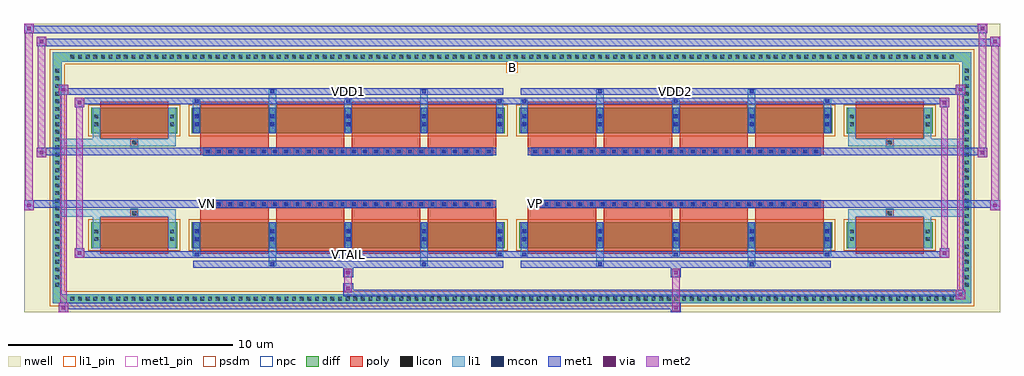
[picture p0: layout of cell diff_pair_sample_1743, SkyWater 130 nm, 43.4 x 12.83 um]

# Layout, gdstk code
import gdstk
lib = gdstk.Library(unit=1e-6, precision=5e-09)
def R(c, l, rs):  # rectangles x0, y0, x1, y1
    for r in rs: c.add(gdstk.rectangle(r[:2], r[2:], *l))
def A(c, l, x, y, w, h, nx, ny, dx, dy):  # array of equal rectangles
    R(c, l, [(x+i*dx, y+j*dy, x+i*dx+w, y+j*dy+h) for i in range(nx) for j in range(ny)])
def P(c, l, *ps):  # polygons
    for p in ps: c.add(gdstk.Polygon(p, *l))
nwell = (64, 20)
diff = (65, 20)
poly = (66, 20)
licon = (66, 44)
li1_pin = (67, 16)
li1 = (67, 20)
mcon = (67, 44)
met1_pin = (68, 16)
met1 = (68, 20)
via = (68, 44)
met2 = (69, 20)
psdm = (94, 20)
npc = (95, 20)

diff_pair_sample_1743 = lib.new_cell('diff_pair_sample_1743')
R(diff_pair_sample_1743, nwell, [(-21.7,-5.98,21.7,6.85), (-19.02,-4.17,-0.01,-0.805), (0.01,-4.17,19.02,-0.805), (-19.02,0.805,-0.01,4.17), (0.01,0.805,19.02,4.17)])
A(diff_pair_sample_1743, diff, -19.755, -5.58, 0.41, 0.41, 116, 2, 0.34, 10.75)
A(diff_pair_sample_1743, diff, -20.43, -4.965, 0.41, 0.41, 1, 29, 0, 0.34)
A(diff_pair_sample_1743, diff, 20.02, -4.965, 0.41, 0.41, 1, 29, 0, 0.34)
R(diff_pair_sample_1743, diff, [(-19.755,-5.58,19.755,-5.17), (-20.43,-4.965,-20.02,4.965), (20.02,-4.965,20.43,4.965), (-18.71,-3.125,-14.89,-1.985), (-14.25,-3.125,-0.32,-1.985), (0.32,-3.125,14.25,-1.985), (14.89,-3.125,18.71,-1.985), (-18.71,1.985,-14.89,3.125), (-14.25,1.985,-0.32,3.125), (0.32,1.985,14.25,3.125), (14.89,1.985,18.71,3.125), (-19.755,5.17,19.755,5.58)])
P(diff_pair_sample_1743, diff, [(20.43,5.58),(-20.43,5.58),(-20.43,-5.17),(-20.02,-5.17),(-20.02,5.17),(20.02,5.17),(20.02,-5.17),(-20.02,-5.17),(-20.43,-5.17),(-20.43,-5.58),(20.43,-5.58)])
A(diff_pair_sample_1743, poly, -13.86, -3.375, 3.04, 1.64, 4, 2, 3.37, 5.11)
A(diff_pair_sample_1743, poly, 0.71, -3.375, 3.04, 1.64, 4, 2, 3.37, 5.11)
A(diff_pair_sample_1743, poly, -13.86, -1.735, 3.04, 0.4, 4, 2, 3.37, 3.07)
A(diff_pair_sample_1743, poly, 0.71, -1.735, 3.04, 0.4, 4, 2, 3.37, 3.07)
A(diff_pair_sample_1743, poly, -13.7, -1.335, 0.33, 0.33, 26, 2, 0.5, 2.34)
A(diff_pair_sample_1743, poly, 0.87, -1.335, 0.33, 0.33, 26, 2, 0.5, 2.34)
R(diff_pair_sample_1743, poly, [(-18.32,-3.375,-15.28,-1.735), (15.28,-3.375,18.32,-1.735), (-16.965,-1.735,-16.635,-1.405), (-16.965,-1.735,-16.635,-1.405), (16.635,-1.735,16.965,-1.405), (16.635,-1.735,16.965,-1.405), (-13.86,-1.335,-0.71,-1.005), (0.71,-1.335,13.86,-1.005), (-13.86,1.005,-0.71,1.335), (0.71,1.005,13.86,1.335), (-16.965,1.405,-16.635,1.735), (-16.965,1.405,-16.635,1.735), (16.635,1.405,16.965,1.735), (16.635,1.405,16.965,1.735), (-18.32,1.735,-15.28,3.375), (15.28,1.735,18.32,3.375)])
A(diff_pair_sample_1743, licon, -19.635, -5.46, 0.17, 0.17, 116, 2, 0.34, 10.75)
A(diff_pair_sample_1743, licon, -20.31, -4.845, 0.17, 0.17, 1, 29, 0, 0.34)
A(diff_pair_sample_1743, licon, 20.14, -4.845, 0.17, 0.17, 1, 29, 0, 0.34)
A(diff_pair_sample_1743, licon, -14.11, -2.81, 0.17, 0.17, 5, 2, 3.37, 0.34)
A(diff_pair_sample_1743, licon, 0.46, -2.81, 0.17, 0.17, 5, 2, 3.37, 0.34)
A(diff_pair_sample_1743, licon, -13.62, -1.255, 0.17, 0.17, 26, 2, 0.5, 2.34)
A(diff_pair_sample_1743, licon, 0.95, -1.255, 0.17, 0.17, 26, 2, 0.5, 2.34)
A(diff_pair_sample_1743, licon, -14.11, 2.3, 0.17, 0.17, 5, 2, 3.37, 0.34)
A(diff_pair_sample_1743, licon, 0.46, 2.3, 0.17, 0.17, 5, 2, 3.37, 0.34)
R(diff_pair_sample_1743, licon, [(-18.57,-2.81,-18.4,-2.64), (-15.2,-2.81,-15.03,-2.64), (15.03,-2.81,15.2,-2.64), (18.4,-2.81,18.57,-2.64), (-18.57,-2.47,-18.4,-2.3), (-15.2,-2.47,-15.03,-2.3), (15.03,-2.47,15.2,-2.3), (18.4,-2.47,18.57,-2.3), (-16.885,-1.655,-16.715,-1.485), (16.715,-1.655,16.885,-1.485), (-16.885,1.485,-16.715,1.655), (16.715,1.485,16.885,1.655), (-18.57,2.3,-18.4,2.47), (-15.2,2.3,-15.03,2.47), (15.03,2.3,15.2,2.47), (18.4,2.3,18.57,2.47), (-18.57,2.64,-18.4,2.81), (-15.2,2.64,-15.03,2.81), (15.03,2.64,15.2,2.81), (18.4,2.64,18.57,2.81)])
R(diff_pair_sample_1743, li1_pin, [(-0.25,4.67,0.25,5.17)])
A(diff_pair_sample_1743, li1, -19.715, -5.54, 0.33, 0.33, 116, 2, 0.34, 10.75)
A(diff_pair_sample_1743, li1, -20.39, -4.925, 0.33, 0.33, 1, 29, 0, 0.34)
A(diff_pair_sample_1743, li1, 20.06, -4.925, 0.33, 0.33, 1, 29, 0, 0.34)
A(diff_pair_sample_1743, li1, -14.19, -3.5, 0.33, 0.375, 3, 2, 6.74, 6.625)
A(diff_pair_sample_1743, li1, -14.11, -3.5, 0.17, 0.17, 3, 2, 6.74, 6.83)
A(diff_pair_sample_1743, li1, 0.38, -3.5, 0.33, 0.375, 3, 2, 6.74, 6.625)
A(diff_pair_sample_1743, li1, 0.46, -3.5, 0.17, 0.17, 3, 2, 6.74, 6.83)
A(diff_pair_sample_1743, li1, -14.19, -3.125, 0.33, 1.14, 5, 2, 3.37, 5.11)
A(diff_pair_sample_1743, li1, 0.38, -3.125, 0.33, 1.14, 5, 2, 3.37, 5.11)
A(diff_pair_sample_1743, li1, -14.19, -2.89, 0.33, 0.33, 5, 2, 3.37, 0.34)
A(diff_pair_sample_1743, li1, 0.38, -2.89, 0.33, 0.33, 5, 2, 3.37, 0.34)
A(diff_pair_sample_1743, li1, -14.11, -2.82, 0.17, 0.17, 5, 2, 3.37, 0.36)
A(diff_pair_sample_1743, li1, -14.11, -2.82, 0.17, 0.53, 5, 2, 3.37, 5.11)
A(diff_pair_sample_1743, li1, 0.46, -2.82, 0.17, 0.17, 5, 2, 3.37, 0.36)
A(diff_pair_sample_1743, li1, 0.46, -2.82, 0.17, 0.53, 5, 2, 3.37, 5.11)
A(diff_pair_sample_1743, li1, -13.7, -1.335, 0.33, 0.33, 26, 2, 0.5, 2.34)
A(diff_pair_sample_1743, li1, 0.87, -1.335, 0.33, 0.33, 26, 2, 0.5, 2.34)
A(diff_pair_sample_1743, li1, -14.19, 2.22, 0.33, 0.33, 5, 2, 3.37, 0.34)
A(diff_pair_sample_1743, li1, 0.38, 2.22, 0.33, 0.33, 5, 2, 3.37, 0.34)
A(diff_pair_sample_1743, li1, -14.11, 2.29, 0.17, 0.17, 5, 2, 3.37, 0.36)
A(diff_pair_sample_1743, li1, 0.46, 2.29, 0.17, 0.17, 5, 2, 3.37, 0.36)
R(diff_pair_sample_1743, li1, [(-20.43,-5.58,-20.02,-5.17), (-20.43,-5.58,-20.02,-5.17), (-20.02,-5.58,20.02,-5.17), (20.02,-5.58,20.43,-5.17), (20.02,-5.58,20.43,-5.17), (-20.43,-5.17,-20.02,5.17), (20.02,-5.17,20.43,5.17), (-10.82,-3.93,-10.49,-3.125), (-10.74,-3.93,-10.57,-3.76), (-4.08,-3.93,-3.75,-3.125), (-4,-3.93,-3.83,-3.76), (3.75,-3.93,4.08,-3.125), (3.83,-3.93,4,-3.76), (10.49,-3.93,10.82,-3.125), (10.57,-3.93,10.74,-3.76), (-18.65,-3.125,-18.32,-1.985), (-15.28,-3.125,-14.95,-1.985), (14.95,-3.125,15.28,-1.985), (18.32,-3.125,18.65,-1.985), (-18.65,-2.89,-18.32,-2.56), (-15.28,-2.89,-14.95,-2.56), (14.95,-2.89,15.28,-2.56), (18.32,-2.89,18.65,-2.56), (-18.65,-2.55,-18.32,-2.22), (-15.28,-2.55,-14.95,-2.22), (14.95,-2.55,15.28,-2.22), (18.32,-2.55,18.65,-2.22), (-18.65,-1.985,-18.32,-1.405), (-15.28,-1.985,-14.95,-1.405), (14.95,-1.985,15.28,-1.405), (18.32,-1.985,18.65,-1.405), (-20.43,-1.735,-16.965,-1.405), (-18.65,-1.735,-16.965,-1.405), (-16.965,-1.735,-16.635,-1.405), (-16.635,-1.735,-14.95,-1.405), (14.95,-1.735,16.635,-1.405), (16.635,-1.735,16.965,-1.405), (16.635,-1.735,20.43,-1.405), (16.965,-1.735,18.65,-1.405), (-20.43,1.405,-16.965,1.735), (-18.65,1.405,-16.965,1.735), (-18.65,1.405,-18.32,1.985), (-16.965,1.405,-16.635,1.735), (-16.635,1.405,-14.95,1.735), (-15.28,1.405,-14.95,1.985), (14.95,1.405,16.635,1.735), (14.95,1.405,15.28,1.985), (16.635,1.405,16.965,1.735), (16.635,1.405,20.43,1.735), (16.965,1.405,18.65,1.735), (18.32,1.405,18.65,1.985), (-18.65,1.985,-18.32,3.125), (-15.28,1.985,-14.95,3.125), (14.95,1.985,15.28,3.125), (18.32,1.985,18.65,3.125), (-18.65,2.22,-18.32,2.55), (-15.28,2.22,-14.95,2.55), (14.95,2.22,15.28,2.55), (18.32,2.22,18.65,2.55), (-18.65,2.56,-18.32,2.89), (-15.28,2.56,-14.95,2.89), (14.95,2.56,15.28,2.89), (18.32,2.56,18.65,2.89), (-10.82,3.125,-10.49,3.93), (-4.08,3.125,-3.75,3.93), (3.75,3.125,4.08,3.93), (10.49,3.125,10.82,3.93), (-10.74,3.76,-10.57,3.93), (-4,3.76,-3.83,3.93), (3.83,3.76,4,3.93), (10.57,3.76,10.74,3.93), (-20.43,5.17,-20.02,5.58), (-20.43,5.17,-20.02,5.58), (-20.02,5.17,20.02,5.58), (20.02,5.17,20.43,5.58), (20.02,5.17,20.43,5.58)])
A(diff_pair_sample_1743, mcon, -14.11, -3.5, 0.17, 0.17, 3, 2, 6.74, 6.83)
A(diff_pair_sample_1743, mcon, 0.46, -3.5, 0.17, 0.17, 3, 2, 6.74, 6.83)
A(diff_pair_sample_1743, mcon, -14.11, -2.82, 0.17, 0.17, 5, 2, 3.37, 0.36)
A(diff_pair_sample_1743, mcon, 0.46, -2.82, 0.17, 0.17, 5, 2, 3.37, 0.36)
A(diff_pair_sample_1743, mcon, -13.62, -1.255, 0.17, 0.17, 26, 2, 0.5, 2.34)
A(diff_pair_sample_1743, mcon, 0.95, -1.255, 0.17, 0.17, 26, 2, 0.5, 2.34)
A(diff_pair_sample_1743, mcon, -14.11, 2.29, 0.17, 0.17, 5, 2, 3.37, 0.36)
A(diff_pair_sample_1743, mcon, 0.46, 2.29, 0.17, 0.17, 5, 2, 3.37, 0.36)
R(diff_pair_sample_1743, mcon, [(-10.74,-3.93,-10.57,-3.76), (-4,-3.93,-3.83,-3.76), (3.83,-3.93,4,-3.76), (10.57,-3.93,10.74,-3.76), (-10.74,3.76,-10.57,3.93), (-4,3.76,-3.83,3.93), (3.83,3.76,4,3.93), (10.57,3.76,10.74,3.93)])
R(diff_pair_sample_1743, met1_pin, [(-7.42,-3.54,-7.15,-3.27), (-13.67,-1.295,-13.4,-1.025), (0.9,-1.295,1.17,-1.025), (-7.42,3.72,-7.15,3.99), (7.15,3.72,7.42,3.99)])
A(diff_pair_sample_1743, met1, -14.17, -3.56, 0.29, 0.29, 3, 2, 6.74, 6.83)
A(diff_pair_sample_1743, met1, 0.4, -3.56, 0.29, 0.29, 3, 2, 6.74, 6.83)
A(diff_pair_sample_1743, met1, -14.17, -3.125, 0.29, 1.14, 5, 2, 3.37, 5.11)
A(diff_pair_sample_1743, met1, 0.4, -3.125, 0.29, 1.14, 5, 2, 3.37, 5.11)
A(diff_pair_sample_1743, met1, -14.17, -2.88, 0.29, 0.29, 5, 2, 3.37, 0.36)
A(diff_pair_sample_1743, met1, 0.4, -2.88, 0.29, 0.29, 5, 2, 3.37, 0.36)
A(diff_pair_sample_1743, met1, -13.68, -1.315, 0.29, 0.29, 26, 2, 0.5, 2.34)
A(diff_pair_sample_1743, met1, 0.89, -1.315, 0.29, 0.29, 26, 2, 0.5, 2.34)
A(diff_pair_sample_1743, met1, -14.17, 2.23, 0.29, 0.29, 5, 2, 3.37, 0.36)
A(diff_pair_sample_1743, met1, 0.4, 2.23, 0.29, 0.29, 5, 2, 3.37, 0.36)
R(diff_pair_sample_1743, met1, [(-20.16,-5.98,-19.73,-5.55), (7.07,-5.98,7.5,-5.55), (-20.16,-5.84,7.5,-5.55), (19.73,-5.41,20.16,-4.98), (-7.5,-5.27,20.16,-4.98), (-7.5,-5.13,-7.07,-4.7), (-7.5,-4.42,-7.07,-3.99), (7.07,-4.42,7.5,-3.99), (-14.17,-3.99,-0.4,-3.7), (-10.8,-3.99,-10.51,-3.7), (-4.06,-3.99,-3.77,-3.7), (0.4,-3.99,14.17,-3.7), (3.77,-3.99,4.06,-3.7), (10.51,-3.99,10.8,-3.7), (-19.45,-3.56,-19.02,-3.13), (-19.45,-3.56,-14.17,-3.27), (-14.17,-3.56,-0.4,-3.27), (-0.4,-3.56,0.4,-3.27), (0.4,-3.56,14.17,-3.27), (14.17,-3.56,19.45,-3.27), (19.02,-3.56,19.45,-3.13), (-21.7,-1.435,-21.27,-1.005), (21.27,-1.435,21.7,-1.005), (-21.7,-1.335,-0.71,-1.005), (-13.86,-1.335,-0.71,-1.005), (0.71,-1.335,13.86,-1.005), (0.71,-1.335,21.7,-1.005), (-21.13,0.905,-20.7,1.335), (20.7,0.905,21.13,1.335), (-21.13,1.005,-13.86,1.335), (-13.86,1.005,-0.71,1.335), (0.71,1.005,13.86,1.335), (13.86,1.005,21.13,1.335), (-19.45,3.13,-19.02,3.56), (19.02,3.13,19.45,3.56), (-19.45,3.27,-14.17,3.56), (-14.17,3.27,-0.4,3.56), (-0.4,3.27,0.4,3.56), (0.4,3.27,14.17,3.56), (14.17,3.27,19.45,3.56), (-20.16,3.7,-19.73,4.13), (-20.16,3.7,-14.17,3.99), (-14.17,3.7,-0.4,3.99), (-10.8,3.7,-10.51,3.99), (-4.06,3.7,-3.77,3.99), (0.4,3.7,14.17,3.99), (3.77,3.7,4.06,3.99), (10.51,3.7,10.8,3.99), (14.17,3.7,20.16,3.99), (19.73,3.7,20.16,4.13), (-21.13,5.85,-20.7,6.28), (-21.13,5.85,-19.02,6.18), (-19.02,5.85,19.02,6.18), (19.02,5.85,21.7,6.18), (21.27,5.85,21.7,6.28), (-21.7,6.42,-21.27,6.85), (-21.7,6.42,-19.02,6.75), (-19.02,6.42,19.02,6.75), (19.02,6.42,21.13,6.75), (20.7,6.42,21.13,6.85)])
R(diff_pair_sample_1743, via, [(-20.02,-5.84,-19.87,-5.69), (7.21,-5.84,7.36,-5.69), (19.87,-5.27,20.02,-5.12), (-7.36,-4.99,-7.21,-4.84), (-7.36,-4.28,-7.21,-4.13), (7.21,-4.28,7.36,-4.13), (-19.31,-3.42,-19.16,-3.27), (19.16,-3.42,19.31,-3.27), (-21.56,-1.295,-21.41,-1.145), (21.41,-1.295,21.56,-1.145), (-20.99,1.045,-20.84,1.195), (20.84,1.045,20.99,1.195), (-19.31,3.27,-19.16,3.42), (19.16,3.27,19.31,3.42), (-20.02,3.84,-19.87,3.99), (19.87,3.84,20.02,3.99), (-20.99,5.99,-20.84,6.14), (21.41,5.99,21.56,6.14), (-21.56,6.56,-21.41,6.71), (20.84,6.56,20.99,6.71)])
R(diff_pair_sample_1743, met2, [(-20.16,-5.98,-19.73,-5.55), (-20.09,-5.98,-19.8,4.13), (-19.8,-5.98,-19.73,-5.55), (-20.11,-5.93,-19.78,-5.6), (7.12,-5.93,7.45,-5.6), (7.12,-5.6,7.45,-4.37), (19.73,-5.41,20.16,-4.98), (19.8,-5.41,20.09,4.13), (20.09,-5.41,20.16,-4.98), (19.78,-5.36,20.11,-5.03), (-7.45,-5.08,-7.12,-4.75), (-7.45,-4.75,-7.12,-4.37), (-7.45,-4.37,-7.12,-4.04), (7.12,-4.37,7.45,-4.04), (-19.45,-3.56,-19.02,-3.13), (-19.38,-3.56,-19.09,3.56), (-19.09,-3.56,-19.02,-3.13), (19.02,-3.56,19.45,-3.13), (19.09,-3.56,19.38,3.56), (19.38,-3.56,19.45,-3.13), (-19.4,-3.51,-19.07,-3.18), (19.07,-3.51,19.4,-3.18), (-21.7,-1.435,-21.27,-1.005), (-21.65,-1.435,-21.32,6.85), (-21.32,-1.435,-21.27,-1.005), (21.27,-1.435,21.7,-1.005), (21.32,-1.435,21.65,6.28), (21.65,-1.435,21.7,-1.005), (-21.65,-1.385,-21.32,-1.055), (21.32,-1.385,21.65,-1.055), (-21.13,0.905,-20.7,1.335), (-21.08,0.905,-20.75,6.28), (-20.75,0.905,-20.7,1.335), (20.7,0.905,21.13,1.335), (20.75,0.905,21.08,6.85), (21.08,0.905,21.13,1.335), (-21.08,0.955,-20.75,1.285), (20.75,0.955,21.08,1.285), (-19.45,3.13,-19.02,3.56), (-19.09,3.13,-19.02,3.56), (19.02,3.13,19.45,3.56), (19.38,3.13,19.45,3.56), (-19.4,3.18,-19.07,3.51), (19.07,3.18,19.4,3.51), (-20.16,3.7,-19.73,4.13), (-19.8,3.7,-19.73,4.13), (19.73,3.7,20.16,4.13), (20.09,3.7,20.16,4.13), (-20.11,3.75,-19.78,4.08), (19.78,3.75,20.11,4.08), (-21.13,5.85,-20.7,6.28), (-20.75,5.85,-20.7,6.28), (21.27,5.85,21.7,6.28), (21.65,5.85,21.7,6.28), (-21.08,5.9,-20.75,6.23), (21.32,5.9,21.65,6.23), (-21.7,6.42,-21.27,6.85), (-21.32,6.42,-21.27,6.85), (20.7,6.42,21.13,6.85), (21.08,6.42,21.13,6.85), (-21.65,6.47,-21.32,6.8), (20.75,6.47,21.08,6.8)])
R(diff_pair_sample_1743, psdm, [(-18.84,-3.255,-14.76,-1.855), (-14.38,-3.255,-0.19,-1.855), (0.19,-3.255,14.38,-1.855), (14.76,-3.255,18.84,-1.855), (-18.84,1.855,-14.76,3.255), (-14.38,1.855,-0.19,3.255), (0.19,1.855,14.38,3.255), (14.76,1.855,18.84,3.255)])
P(diff_pair_sample_1743, psdm, [(20.56,5.71),(-20.56,5.71),(-20.56,-5.04),(-19.89,-5.04),(-19.89,5.04),(19.89,5.04),(19.89,-5.04),(-19.89,-5.04),(-20.56,-5.04),(-20.56,-5.71),(20.56,-5.71)])
A(diff_pair_sample_1743, npc, -13.72, -1.355, 0.37, 0.37, 26, 2, 0.5, 2.34)
A(diff_pair_sample_1743, npc, 0.85, -1.355, 0.37, 0.37, 26, 2, 0.5, 2.34)
R(diff_pair_sample_1743, npc, [(-16.985,-1.755,-16.615,-1.385), (16.615,-1.755,16.985,-1.385), (-13.72,-1.355,-12.85,-0.985), (-13.72,-1.355,-12.85,-0.985), (-13.22,-1.355,-12.35,-0.985), (-13.22,-1.355,-12.35,-0.985), (-12.72,-1.355,-11.85,-0.985), (-12.72,-1.355,-11.85,-0.985), (-12.22,-1.355,-11.35,-0.985), (-12.22,-1.355,-11.35,-0.985), (-11.72,-1.355,-10.85,-0.985), (-11.72,-1.355,-10.85,-0.985), (-11.22,-1.355,-10.35,-0.985), (-11.22,-1.355,-10.35,-0.985), (-10.72,-1.355,-9.85,-0.985), (-10.72,-1.355,-9.85,-0.985), (-10.22,-1.355,-9.35,-0.985), (-10.22,-1.355,-9.35,-0.985), (-9.72,-1.355,-8.85,-0.985), (-9.72,-1.355,-8.85,-0.985), (-9.22,-1.355,-8.35,-0.985), (-9.22,-1.355,-8.35,-0.985), (-8.72,-1.355,-7.85,-0.985), (-8.72,-1.355,-7.85,-0.985), (-8.22,-1.355,-7.35,-0.985), (-8.22,-1.355,-7.35,-0.985), (-7.72,-1.355,-6.85,-0.985), (-7.72,-1.355,-6.85,-0.985), (-7.22,-1.355,-6.35,-0.985), (-7.22,-1.355,-6.35,-0.985), (-6.72,-1.355,-5.85,-0.985), (-6.72,-1.355,-5.85,-0.985), (-6.22,-1.355,-5.35,-0.985), (-6.22,-1.355,-5.35,-0.985), (-5.72,-1.355,-4.85,-0.985), (-5.72,-1.355,-4.85,-0.985), (-5.22,-1.355,-4.35,-0.985), (-5.22,-1.355,-4.35,-0.985), (-4.72,-1.355,-3.85,-0.985), (-4.72,-1.355,-3.85,-0.985), (-4.22,-1.355,-3.35,-0.985), (-4.22,-1.355,-3.35,-0.985), (-3.72,-1.355,-2.85,-0.985), (-3.72,-1.355,-2.85,-0.985), (-3.22,-1.355,-2.35,-0.985), (-3.22,-1.355,-2.35,-0.985), (-2.72,-1.355,-1.85,-0.985), (-2.72,-1.355,-1.85,-0.985), (-2.22,-1.355,-1.35,-0.985), (-2.22,-1.355,-1.35,-0.985), (-1.72,-1.355,-0.85,-0.985), (-1.72,-1.355,-0.85,-0.985), (0.85,-1.355,1.72,-0.985), (0.85,-1.355,1.72,-0.985), (1.35,-1.355,2.22,-0.985), (1.35,-1.355,2.22,-0.985), (1.85,-1.355,2.72,-0.985), (1.85,-1.355,2.72,-0.985), (2.35,-1.355,3.22,-0.985), (2.35,-1.355,3.22,-0.985), (2.85,-1.355,3.72,-0.985), (2.85,-1.355,3.72,-0.985), (3.35,-1.355,4.22,-0.985), (3.35,-1.355,4.22,-0.985), (3.85,-1.355,4.72,-0.985), (3.85,-1.355,4.72,-0.985), (4.35,-1.355,5.22,-0.985), (4.35,-1.355,5.22,-0.985), (4.85,-1.355,5.72,-0.985), (4.85,-1.355,5.72,-0.985), (5.35,-1.355,6.22,-0.985), (5.35,-1.355,6.22,-0.985), (5.85,-1.355,6.72,-0.985), (5.85,-1.355,6.72,-0.985), (6.35,-1.355,7.22,-0.985), (6.35,-1.355,7.22,-0.985), (6.85,-1.355,7.72,-0.985), (6.85,-1.355,7.72,-0.985), (7.35,-1.355,8.22,-0.985), (7.35,-1.355,8.22,-0.985), (7.85,-1.355,8.72,-0.985), (7.85,-1.355,8.72,-0.985), (8.35,-1.355,9.22,-0.985), (8.35,-1.355,9.22,-0.985), (8.85,-1.355,9.72,-0.985), (8.85,-1.355,9.72,-0.985), (9.35,-1.355,10.22,-0.985), (9.35,-1.355,10.22,-0.985), (9.85,-1.355,10.72,-0.985), (9.85,-1.355,10.72,-0.985), (10.35,-1.355,11.22,-0.985), (10.35,-1.355,11.22,-0.985), (10.85,-1.355,11.72,-0.985), (10.85,-1.355,11.72,-0.985), (11.35,-1.355,12.22,-0.985), (11.35,-1.355,12.22,-0.985), (11.85,-1.355,12.72,-0.985), (11.85,-1.355,12.72,-0.985), (12.35,-1.355,13.22,-0.985), (12.35,-1.355,13.22,-0.985), (12.85,-1.355,13.72,-0.985), (12.85,-1.355,13.72,-0.985), (-13.72,0.985,-12.85,1.355), (-13.72,0.985,-12.85,1.355), (-13.22,0.985,-12.35,1.355), (-13.22,0.985,-12.35,1.355), (-12.72,0.985,-11.85,1.355), (-12.72,0.985,-11.85,1.355), (-12.22,0.985,-11.35,1.355), (-12.22,0.985,-11.35,1.355), (-11.72,0.985,-10.85,1.355), (-11.72,0.985,-10.85,1.355), (-11.22,0.985,-10.35,1.355), (-11.22,0.985,-10.35,1.355), (-10.72,0.985,-9.85,1.355), (-10.72,0.985,-9.85,1.355), (-10.22,0.985,-9.35,1.355), (-10.22,0.985,-9.35,1.355), (-9.72,0.985,-8.85,1.355), (-9.72,0.985,-8.85,1.355), (-9.22,0.985,-8.35,1.355), (-9.22,0.985,-8.35,1.355), (-8.72,0.985,-7.85,1.355), (-8.72,0.985,-7.85,1.355), (-8.22,0.985,-7.35,1.355), (-8.22,0.985,-7.35,1.355), (-7.72,0.985,-6.85,1.355), (-7.72,0.985,-6.85,1.355), (-7.22,0.985,-6.35,1.355), (-7.22,0.985,-6.35,1.355), (-6.72,0.985,-5.85,1.355), (-6.72,0.985,-5.85,1.355), (-6.22,0.985,-5.35,1.355), (-6.22,0.985,-5.35,1.355), (-5.72,0.985,-4.85,1.355), (-5.72,0.985,-4.85,1.355), (-5.22,0.985,-4.35,1.355), (-5.22,0.985,-4.35,1.355), (-4.72,0.985,-3.85,1.355), (-4.72,0.985,-3.85,1.355), (-4.22,0.985,-3.35,1.355), (-4.22,0.985,-3.35,1.355), (-3.72,0.985,-2.85,1.355), (-3.72,0.985,-2.85,1.355), (-3.22,0.985,-2.35,1.355), (-3.22,0.985,-2.35,1.355), (-2.72,0.985,-1.85,1.355), (-2.72,0.985,-1.85,1.355), (-2.22,0.985,-1.35,1.355), (-2.22,0.985,-1.35,1.355), (-1.72,0.985,-0.85,1.355), (-1.72,0.985,-0.85,1.355), (0.85,0.985,1.72,1.355), (0.85,0.985,1.72,1.355), (1.35,0.985,2.22,1.355), (1.35,0.985,2.22,1.355), (1.85,0.985,2.72,1.355), (1.85,0.985,2.72,1.355), (2.35,0.985,3.22,1.355), (2.35,0.985,3.22,1.355), (2.85,0.985,3.72,1.355), (2.85,0.985,3.72,1.355), (3.35,0.985,4.22,1.355), (3.35,0.985,4.22,1.355), (3.85,0.985,4.72,1.355), (3.85,0.985,4.72,1.355), (4.35,0.985,5.22,1.355), (4.35,0.985,5.22,1.355), (4.85,0.985,5.72,1.355), (4.85,0.985,5.72,1.355), (5.35,0.985,6.22,1.355), (5.35,0.985,6.22,1.355), (5.85,0.985,6.72,1.355), (5.85,0.985,6.72,1.355), (6.35,0.985,7.22,1.355), (6.35,0.985,7.22,1.355), (6.85,0.985,7.72,1.355), (6.85,0.985,7.72,1.355), (7.35,0.985,8.22,1.355), (7.35,0.985,8.22,1.355), (7.85,0.985,8.72,1.355), (7.85,0.985,8.72,1.355), (8.35,0.985,9.22,1.355), (8.35,0.985,9.22,1.355), (8.85,0.985,9.72,1.355), (8.85,0.985,9.72,1.355), (9.35,0.985,10.22,1.355), (9.35,0.985,10.22,1.355), (9.85,0.985,10.72,1.355), (9.85,0.985,10.72,1.355), (10.35,0.985,11.22,1.355), (10.35,0.985,11.22,1.355), (10.85,0.985,11.72,1.355), (10.85,0.985,11.72,1.355), (11.35,0.985,12.22,1.355), (11.35,0.985,12.22,1.355), (11.85,0.985,12.72,1.355), (11.85,0.985,12.72,1.355), (12.35,0.985,13.22,1.355), (12.35,0.985,13.22,1.355), (12.85,0.985,13.72,1.355), (12.85,0.985,13.72,1.355), (-16.985,1.385,-16.615,1.755), (16.615,1.385,16.985,1.755)])
diff_pair_sample_1743.add(gdstk.Label('VTAIL', (-7.285,-3.405), layer=68, texttype=5))
diff_pair_sample_1743.add(gdstk.Label('VN', (-13.535,-1.16), layer=68, texttype=5))
diff_pair_sample_1743.add(gdstk.Label('VP', (1.035,-1.16), layer=68, texttype=5))
diff_pair_sample_1743.add(gdstk.Label('B', (0,4.92), layer=67, texttype=5))
diff_pair_sample_1743.add(gdstk.Label('VDD2', (7.285,3.855), layer=68, texttype=5))
diff_pair_sample_1743.add(gdstk.Label('VDD1', (-7.285,3.855), layer=68, texttype=5))

lib.write_gds('diff_pair_sample_1743.gds')
